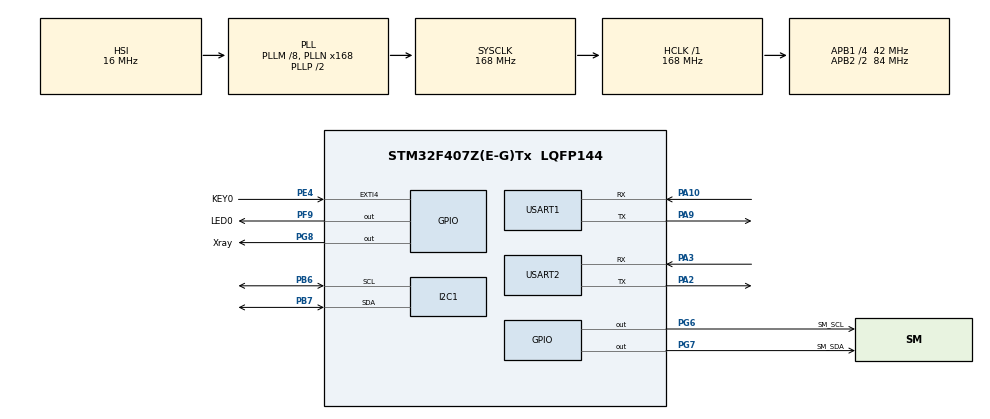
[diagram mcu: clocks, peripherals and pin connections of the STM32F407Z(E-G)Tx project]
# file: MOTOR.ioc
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Mcu.Family=STM32F4
Mcu.Name=STM32F407Z(E-G)Tx
Mcu.Package=LQFP144
NVIC.EXTI4_IRQn=true\:2\:0\:true\:false\:true\:true\:true
NVIC.PriorityGroup=NVIC_PRIORITYGROUP_4
NVIC.USART1_IRQn=true\:0\:0\:false\:false\:true\:true\:true
NVIC.USART2_IRQn=true\:1\:0\:true\:false\:true\:true\:true
PA10.Mode=Asynchronous
PA10.Signal=USART1_RX
PA2.Mode=Asynchronous
PA2.Signal=USART2_TX
PA3.Mode=Asynchronous
PA3.Signal=USART2_RX
PA9.Mode=Asynchronous
PA9.Signal=USART1_TX
PB6.Mode=I2C
PB6.Signal=I2C1_SCL
PB7.Mode=I2C
PB7.Signal=I2C1_SDA
PE4.GPIO_Label=KEY0
PE4.GPIO_ModeDefaultEXTI=GPIO_MODE_IT_FALLING
PE4.Signal=GPXTI4
PF9.GPIO_Label=LED0
PF9.PinState=GPIO_PIN_SET
PF9.Signal=GPIO_Output
PG6.GPIO_Label=SM_SCL
PG6.GPIO_ModeDefaultOutputPP=GPIO_MODE_OUTPUT_OD
PG6.PinState=GPIO_PIN_SET
PG6.Signal=GPIO_Output
PG7.GPIO_Label=SM_SDA
PG7.GPIO_ModeDefaultOutputPP=GPIO_MODE_OUTPUT_OD
PG7.PinState=GPIO_PIN_SET
PG7.Signal=GPIO_Output
PG8.GPIO_Label=Xray
PG8.Signal=GPIO_Output
PH0-OSC_IN.Mode=HSE-External-Oscillator
PH0-OSC_IN.Signal=RCC_OSC_IN
PH1-OSC_OUT.Mode=HSE-External-Oscillator
PH1-OSC_OUT.Signal=RCC_OSC_OUT
ProjectManager.HeapSize=0x200
ProjectManager.StackSize=0x400
ProjectManager.TargetToolchain=MDK-ARM V5
RCC.48MHZClocksFreq_Value=84000000
RCC.AHBFreq_Value=168000000
RCC.APB1CLKDivider=RCC_HCLK_DIV4
RCC.APB1Freq_Value=42000000
RCC.APB1TimFreq_Value=84000000
RCC.APB2CLKDivider=RCC_HCLK_DIV2
RCC.APB2Freq_Value=84000000
RCC.APB2TimFreq_Value=168000000
RCC.CortexFreq_Value=168000000
RCC.HCLKFreq_Value=168000000
RCC.HSE_VALUE=25000000
RCC.HSI_VALUE=16000000
RCC.LSE_VALUE=32768
RCC.PLLM=8
RCC.PLLN=168
RCC.SYSCLKFreq_VALUE=168000000
RCC.SYSCLKSource=RCC_SYSCLKSOURCE_PLLCLK
RCC.VCOOutputFreq_Value=336000000
USART1.VirtualMode=VM_ASYNC
USART2.VirtualMode=VM_ASYNC
board=custom

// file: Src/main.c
/* USER CODE BEGIN Header */
/**
  ******************************************************************************
  * @file           : main.c
  * @brief          : Main program body
  ******************************************************************************
  * @attention
  *
  * <h2><center>&copy; Copyright (c) 2020 STMicroelectronics.
  * All rights reserved.</center></h2>
  *
  * This software component is licensed by ST under BSD 3-Clause license,
  * the "License"; You may not use this file except in compliance with the
  * License. You may obtain a copy of the License at:
  *                        opensource.org/licenses/BSD-3-Clause
  *
  ******************************************************************************
  */
/* USER CODE END Header */
#include "main.h"
#include "i2c.h"
#include "usart.h"
#include "gpio.h"

/* USER CODE BEGIN Includes */
#include <stdio.h>
#include "mlx90614.h"
#include "OLED.h"

/* USER CODE END Includes */

/* USER CODE BEGIN PTD */
int fputc(int ch, FILE *f)
{
    uint8_t temp[1] = {ch};
    HAL_UART_Transmit(&huart1, temp, 1, 2);
    return ch;
}
/* USER CODE END PTD */

void SystemClock_Config(void);

/* USER CODE BEGIN 0 */
uint8_t usart2_Re;  //BlueTeeth receive data to control direction
uint16_t Motor_Forward = 0, Motor_Retreat = 0;
uint16_t Steer_Left = 0, Steer_Right = 0, Direction_Angle = 6;
uint16_t FPV_Yaw_Left = 0, FPV_Yaw_Right = 0, FPV_Yaw_Angle = 8;
uint16_t FPV_Pitch_Left = 0, FPV_Pitch_Right = 0, FPV_Pitch_Angle = 8;

//GY-906
float Tem_Real, Q = 0.1, Tem_Avg;
float Tem_Real1 = 0;
float vauleXk1;
float Pkn1, Pk, Zkn1, Zk, Xkn1, Xk, XkA, K;
float T1, T2, T3, T4, T5;
float T11, T22, T33, T44, T55;
uint8_t Tem_Count = 0;
int Reflect_Rate = 62258;   //Object 65536   Human 62258
uint8_t String_Value[10];

uint8_t Usart2_Bt2pi; //Receive from pi
uint8_t Usart1_Bt2Screen;
uint8_t String_Rec[20] = "Rec from pi: ";
uint8_t Send2Rasberry[23] = "32 receive successfully";
uint8_t TDelayCount = 0;
void HAL_UART_RxCpltCallback(UART_HandleTypeDef *huart)
{
/*      uart test
//    sprintf(String_Value," Rec from pi = %c ^", Usart2_Bt2pi);
    String_Rec[12] = (uint8_t)(Usart2_Bt2pi/10);
    String_Rec[13] = Usart2_Bt2pi;
    OLED_ShowStr(0,6,String_Rec,2);

    HAL_UART_Transmit(&huart2, Send2Rasberry, 23, 20);

    HAL_UART_Receive_IT(&huart2, &Usart2_Bt2pi, 4);
*/
	if(huart->Instance == USART1){
		if(Usart1_Bt2Screen == 0xd8){
//			HAL_GPIO_WritePin(LED0_GPIO_Port, LED0_Pin, GPIO_PIN_RESET);
//			T_Kalmen(1);
//			sprintf(String_Value," T = %.1f ^", Xk);
//			OLED_ShowStr(20,0,String_Value,2);
//			HAL_Delay(100);

//			T_Kalmen(0);
//			HAL_Delay(100);

//				    Tem_Real = Xk + (Xk - XkA)*0.26;
//					Tem_Real1 =Tem_Real*10;//注意定义
//			sprintf(String_Value," T = %.1f ^", Tem_Real);
//			OLED_ShowStr(20,2,String_Value,2);
//                    HAL_Delay(10);
//	                  sprintf(vaule, "%.1f",Tem_Real);
//					  HMI_SetWidgetVaule("t7.txt", vaule);
//                    HAL_Delay(10);
//					  sprintf(vaule1, "%d",(int)Tem_Real1);
//					  HMI_SetWidgetVaule("t6.txt", vaule1);
//                    HAL_Delay(10);
//					  strcpy(cmd,"click 15,1");
//					  HMI_SendCmd(cmd);
			TDelayCount = 1;
		}
        else if(Usart1_Bt2Screen == 0x45){
            TDelayCount = 2;
        }
	}
    HAL_UART_Receive_IT(&huart1, &Usart1_Bt2Screen, 1);
}

void HAL_GPIO_EXTI_Callback(uint16_t GPIO_Pin)
{

    if(GPIO_Pin == KEY0_Pin)
    {
        HAL_GPIO_WritePin(LED0_GPIO_Port, LED0_Pin, GPIO_PIN_RESET);
    }

//    T_Kalmen(1);
////    if((Xk > 50.0) || (Xk < 0.0)){goto RESTART1;}
//    sprintf(String_Value," T = %.1f ^", Xk);
//    OLED_ShowStr(20,0,String_Value,2);
//    HAL_Delay(100);

//    T_Kalmen(0);
////    if((XkA > 50.0) || (XkA < 0.0)){goto RESTART1;}
////    sprintf(String_Value," T = %.1f ^", XkA);
////    OLED_ShowStr(20,2,String_Value,2);
//    HAL_Delay(100);

////      Real_Kalmen();
//    Tem_Real = Xk + (Xk - XkA)*0.26;
//				Tem_Real1 =Tem_Real*10;//注意定义
//
//    sprintf(String_Value," T = %.1f ^", Tem_Real);
//    OLED_ShowStr(20,2,String_Value,2);
//	//串口屏专用
//                    HAL_Delay(10);
//	                  sprintf(vaule, "%.1f",Tem_Real);
//					  HMI_SetWidgetVaule("t7.txt", vaule);
//					  HAL_Delay(10);
//					  sprintf(vaule1, "%d",(int)Tem_Real1);
//					  HMI_SetWidgetVaule("t6.txt", vaule1);
//					  HAL_Delay(10);
//					  strcpy(cmd,"click 15,1");
//					  HMI_SendCmd(cmd);
//                    HAL_Delay(10);
    TDelayCount = 1;

//    printf("%f\n",Tem_Real);
}

char vaule[40];
char vaule1[40];
char vauleXk[40];
char cmd[40];
char vaule2[40];
char cmd2[40];

//Templete about
float TemGet[20], TemSum;
//Templete about
/* USER CODE END 0 */

int main(void)
{

  /* MCU Configuration--------------------------------------------------------*/

  /* Reset of all peripherals, Initializes the Flash interface and the Systick. */
  HAL_Init();

  /* Configure the system clock */
  SystemClock_Config();

  /* Initialize all configured peripherals */
  MX_GPIO_Init();
  MX_USART1_UART_Init();
  MX_I2C1_Init();
  MX_USART2_UART_Init();
  /* USER CODE BEGIN 2 */
    HAL_UART_Receive_IT(&huart2, &Usart2_Bt2pi, 1);
    HAL_UART_Receive_IT(&huart1, &Usart1_Bt2Screen, 1);
    HAL_GPIO_WritePin(Xray_GPIO_Port, Xray_Pin, GPIO_PIN_RESET);

RESTART1:
    Parameter_Init(Reflect_Rate);

    OLED_Init();    //初始化OLED
    OLED_CLS();
    OLED_Fill(0xff);
    OLED_Fill(0x00);//全屏灭

    HAL_Delay(50);
//Templete about
    T_Kalmen(1);
    if((Xk > 50.0) || (Xk < 0.0)){goto RESTART1;}
    HAL_Delay(100);
    T_Kalmen(0);
    if((XkA > 50.0) || (XkA < 0.0)){goto RESTART1;}
    HAL_Delay(100);
//    for(char i = 0; i<3; i++){
//        T1 = SMBus_ReadTemp();HAL_Delay(10);
//        if((T1 > 50.0) || (T1 < 0.0)){goto RESTART1;}
//        T1 = SMBus_ReadTempA();HAL_Delay(10);
//        if((T1 > 50.0) || (T1 < 0.0)){goto RESTART1;}
//    }
//Templete about
    OLED_ShowStr(0,6,"Tem Check Ready",2);
  /* USER CODE END 2 */

  /* Infinite loop */
  /* USER CODE BEGIN WHILE */
  while (1)
  {
      if((TDelayCount == 1)||(TDelayCount == 2)){
          /*
            Xk-Tobject  Tem_Real-Tman
          */
          HAL_GPIO_WritePin(LED0_GPIO_Port, LED0_Pin, GPIO_PIN_RESET);
          HAL_GPIO_TogglePin(Xray_GPIO_Port, Xray_Pin);//Xray 1
//Templete about
			T_Kalmen(1);
//          T_Advance();
//Templete about
			sprintf(String_Value," T = %.1f ^", Xk);
			OLED_ShowStr(20,0,String_Value,2);
			HAL_Delay(100);
          HAL_GPIO_TogglePin(Xray_GPIO_Port, Xray_Pin);//Xray 0
//Templete about
			T_Kalmen(0);
//          T_Advance();
//Templete about
			HAL_Delay(100);
          HAL_GPIO_TogglePin(Xray_GPIO_Port, Xray_Pin);//Xray 1
				    Tem_Real = Xk + (Xk - XkA)*0.26;
					Tem_Real1 =Tem_Real*10;//注意定义
                    vauleXk1 = Xk*10;

			sprintf(String_Value," T = %.1f ^", Tem_Real);
			OLED_ShowStr(20,2,String_Value,2);
                      HAL_Delay(10);//人体体温
                      sprintf(vaule, "%.1f",Tem_Real);
                      HMI_SetWidgetVaule("t7.txt", vaule);
    //                HAL_Delay(10);//物体温度
                      sprintf(vauleXk, "%.1f",Xk);
                      HMI_SetWidgetVaule("t2.txt", vauleXk);

                          HAL_Delay(10);
                          sprintf(vaule1, "%d",(int)(Tem_Real1+0.5));
                          HMI_SetWidgetVaule("t6.txt", vaule1);

                          HAL_Delay(10);
                          sprintf(vaule2, "%d",(int)( vauleXk1+0.5));
                          HMI_SetWidgetVaule("t4.txt", vaule2);

              if(TDelayCount == 1){

                    HAL_Delay(10);
					  strcpy(cmd,"click 8,1");//此处12需要根据控件id进行修改，按钮bo id
					  HMI_SendCmd(cmd);
                }
                else if(TDelayCount == 2){
                    HAL_Delay(10);
					  strcpy(cmd2,"click 16,1");//此处12需要根据控件id进行修改
					  HMI_SendCmd(cmd2);
                }
          HAL_Delay(3000);
          HAL_GPIO_WritePin(LED0_GPIO_Port, LED0_Pin, GPIO_PIN_SET);
        HAL_GPIO_WritePin(Xray_GPIO_Port, Xray_Pin, GPIO_PIN_RESET);//Xray 0
          OLED_CLS();
          OLED_ShowStr(0,6,"Tem Check Ready",2);
          TDelayCount = 0;
//
//          printf("%.1f",Tem_Real);
      }

    /* USER CODE END WHILE */

  }
}

void SystemClock_Config(void)
{
  RCC_OscInitTypeDef RCC_OscInitStruct = {0};
  RCC_ClkInitTypeDef RCC_ClkInitStruct = {0};

  /** Configure the main internal regulator output voltage
  */
  __HAL_RCC_PWR_CLK_ENABLE();
  __HAL_PWR_VOLTAGESCALING_CONFIG(PWR_REGULATOR_VOLTAGE_SCALE1);
  /** Initializes the RCC Oscillators according to the specified parameters
  * in the RCC_OscInitTypeDef structure.
  */
  RCC_OscInitStruct.OscillatorType = RCC_OSCILLATORTYPE_HSI;
  RCC_OscInitStruct.HSIState = RCC_HSI_ON;
  RCC_OscInitStruct.HSICalibrationValue = RCC_HSICALIBRATION_DEFAULT;
  RCC_OscInitStruct.PLL.PLLState = RCC_PLL_ON;
  RCC_OscInitStruct.PLL.PLLSource = RCC_PLLSOURCE_HSI;
  RCC_OscInitStruct.PLL.PLLM = 8;
  RCC_OscInitStruct.PLL.PLLN = 168;
  RCC_OscInitStruct.PLL.PLLP = RCC_PLLP_DIV2;
  RCC_OscInitStruct.PLL.PLLQ = 4;
  if (HAL_RCC_OscConfig(&RCC_OscInitStruct) != HAL_OK)
  {
    Error_Handler();
  }
  /** Initializes the CPU, AHB and APB buses clocks
  */
  RCC_ClkInitStruct.ClockType = RCC_CLOCKTYPE_HCLK|RCC_CLOCKTYPE_SYSCLK
                              |RCC_CLOCKTYPE_PCLK1|RCC_CLOCKTYPE_PCLK2;
  RCC_ClkInitStruct.SYSCLKSource = RCC_SYSCLKSOURCE_PLLCLK;
  RCC_ClkInitStruct.AHBCLKDivider = RCC_SYSCLK_DIV1;
  RCC_ClkInitStruct.APB1CLKDivider = RCC_HCLK_DIV4;
  RCC_ClkInitStruct.APB2CLKDivider = RCC_HCLK_DIV2;

  if (HAL_RCC_ClockConfig(&RCC_ClkInitStruct, FLASH_LATENCY_5) != HAL_OK)
  {
    Error_Handler();
  }
}

void Error_Handler(void)
{
}

/************************ (C) COPYRIGHT STMicroelectronics *****END OF FILE****/
